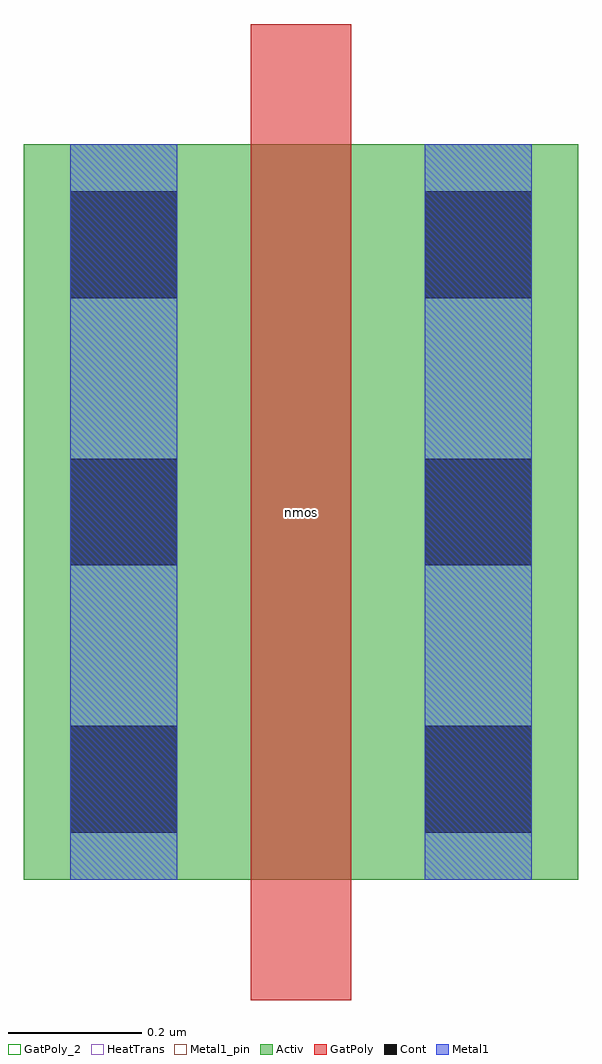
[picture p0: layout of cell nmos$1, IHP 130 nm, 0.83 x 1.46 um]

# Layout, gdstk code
import gdstk
lib = gdstk.Library(unit=1e-6, precision=1e-09)
def R(c, l, rs):  # rectangles x0, y0, x1, y1
    for r in rs: c.add(gdstk.rectangle(r[:2], r[2:], *l))
def A(c, l, x, y, w, h, nx, ny, dx, dy):  # array of equal rectangles
    R(c, l, [(x+i*dx, y+j*dy, x+i*dx+w, y+j*dy+h) for i in range(nx) for j in range(ny)])
Activ = (1, 0)
GatPoly = (5, 0)
GatPoly_2 = (5, 2)
Cont = (6, 0)
Metal1 = (8, 0)
Metal1_pin = (8, 2)
HeatTrans = (51, 0)

nmos_1 = lib.new_cell('nmos$1')
R(nmos_1, Activ, [(0,0,0.3,0.3), (0,0,0.83,1.1), (0.53,0,0.83,0.3)])
R(nmos_1, GatPoly, [(0.34,-0.18,0.49,1.28)])
R(nmos_1, GatPoly_2, [(0.34,-0.18,0.49,1.28)])
A(nmos_1, Cont, 0.07, 0.07, 0.16, 0.16, 1, 3, 0, 0.4)
A(nmos_1, Cont, 0.6, 0.07, 0.16, 0.16, 1, 3, 0, 0.4)
R(nmos_1, Metal1, [(0.07,0,0.23,1.1), (0.6,0,0.76,1.1)])
R(nmos_1, Metal1_pin, [(0.07,0,0.23,1.1), (0.6,0,0.76,1.1)])
R(nmos_1, HeatTrans, [(0.34,-0.18,0.49,1.28)])
nmos_1.add(gdstk.Label('nmos', (0.415,0.55), layer=63, texttype=0))
nmos_1.add(gdstk.Label('nmos', (0.415,0.55), layer=51, texttype=0))

lib.write_gds('nmos_1.gds')
